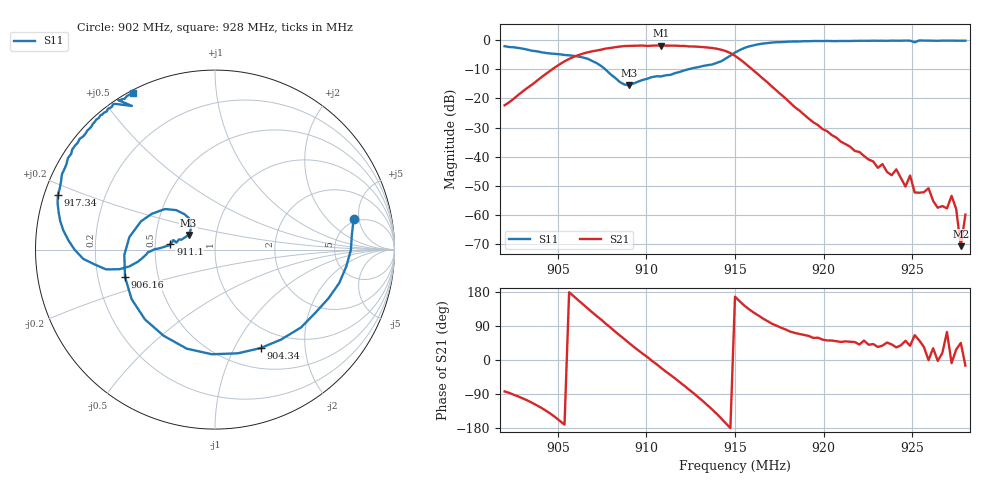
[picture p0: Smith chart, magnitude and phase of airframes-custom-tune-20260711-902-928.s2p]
# HZ S RI R 50
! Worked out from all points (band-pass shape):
!   101 points, 902 MHz to 928 MHz, reference 50 ohm
!   highest |S21| = -1.80 dB at 910.84 MHz (marker M1); lowest = -70.8 dB at 927.74 MHz (marker M2)
!   |S21| within 3 dB of the highest: 906.31 MHz to 914.85 MHz (8.537 MHz wide, 0.938 % of centre)
!   lowest |S11| = -15.5 dB at 909.02 MHz (marker M3), VSWR 1.40, Z = 36.7 + j6.14 ohm
!   |S11| at or under -10 dB: 907.68 MHz to 912.35 MHz (4.667 MHz wide, 0.513 % of centre)
!   S12 and S22 are empty: the file has one direction only
!   S11 on the Smith chart (normalised r, x): 902 MHz: 4.61, +4.21; 904.34 MHz: 0.74, -1.28; 906.16 MHz: 0.32, -0.13; 911.1 MHz: 0.60, +0.04; 917.34 MHz: 0.04, +0.17; 928 MHz: 0.01, +0.61
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9.02e8  0.772 0.1712  0.0094 -0.0759  0 0  0 0
9.0434e8  0.2545 -0.5486  -0.1843 -0.1913  0 0  0 0
9.0512e8  -0.1568 -0.5521  -0.3672 -0.1278  0 0  0 0
9.0616e8  -0.5015 -0.1529  -0.5129 0.2124  0 0  0 0
9.0642e8  -0.5052 -0.0293  -0.4953 0.3216  0 0  0 0
9.0772e8  -0.217 0.2202  -0.0663 0.7185  0 0  0 0
9.0902e8  -0.1472 0.0813  0.5665 0.5648  0 0  0 0
9.1084e8  -0.2355 0.0448  0.758 -0.2941  0 0  0 0
9.111e8  -0.248 0.0325  0.6962 -0.4129  0 0  0 0
9.1292e8  -0.345 -0.00194  -0.1057 -0.7669  0 0  0 0
9.1422e8  -0.4301 -0.0677  -0.6182 -0.301  0 0  0 0
9.15e8  -0.6066 -0.1103  -0.526 0.1203  0 0  0 0
9.1734e8  -0.8756 0.3027  -0.00129 0.137  0 0  0 0
9.1942e8  -0.7961 0.5569  0.0205 0.0331  0 0  0 0
9.2384e8  -0.597 0.784  0.00361 0.00315  0 0  0 0
9.2514e8  -0.463 0.8005  0.00101 0.00221  0 0  0 0
9.2592e8  -0.52 0.8369  0.00286 -1.42e-05  0 0  0 0
9.2644e8  -0.5032 0.84  0.00132 -5.65e-05  0 0  0 0
9.2722e8  -0.4757 0.8647  0.0021 -0.000302  0 0  0 0
9.2748e8  -0.4673 0.8639  0.00112 0.000582  0 0  0 0
9.2774e8  -0.4585 0.8687  0.000205 0.000205  0 0  0 0
9.28e8  -0.4546 0.8712  0.000976 -0.000255  0 0  0 0
